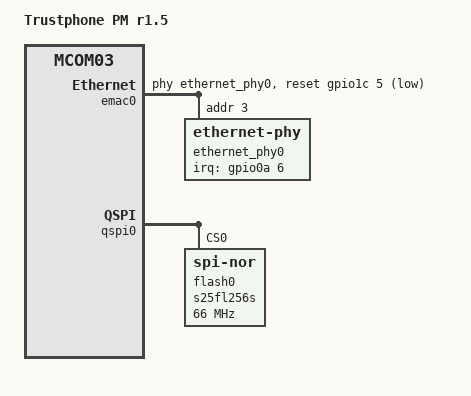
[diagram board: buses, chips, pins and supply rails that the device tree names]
// SPDX-License-Identifier: GPL-2.0+
/*
 * Copyright 2021 RnD Center "ELVEES", JSC
 */

/dts-v1/;

#include <dt-bindings/gpio/gpio.h>

#include "mcom03.dtsi"

/ {
	model = "Trustphone PM r1.5";
	compatible = "elvees,trustphonepm-r1.5",
		     "elvees,trustphonepm",
		     "elvees,mcom03";

	chosen {
		stdout-path = "serial0:115200n8";
	};

	/delete-node/ sdr@1900000;
};

&emac0 {
	phy-handle = <&ethernet_phy0>;
	reset-gpios = <&gpio1c 5 GPIO_ACTIVE_LOW>;
	reset-post-delay-us = <100>;

	ethernet_phy0: ethernet-phy@3 {
		reg = <0x3>;
		/* This is max GTX_CLK skew (0b11111 * 60ps/step)
		 * for KSZ9031 Ethernet PHY
		 */
		txc-skew-ps = <1860>;
		interrupt-parent = <&gpio0a>;
		interrupts = <6 IRQ_TYPE_LEVEL_LOW>;
	};
};

&qspi0 {
	status = "okay";

	flash0: s25fl256s@0 {
		#address-cells = <1>;
		#size-cells = <1>;
		compatible = "jedec,spi-nor", "spi-flash";
		reg = <0x0>;
		/* This is the highest frequency at which all commands are
		 * supported by the flash device.
		 */
		spi-max-frequency = <66000000>;
		m25p,fast-read;
	};
};
